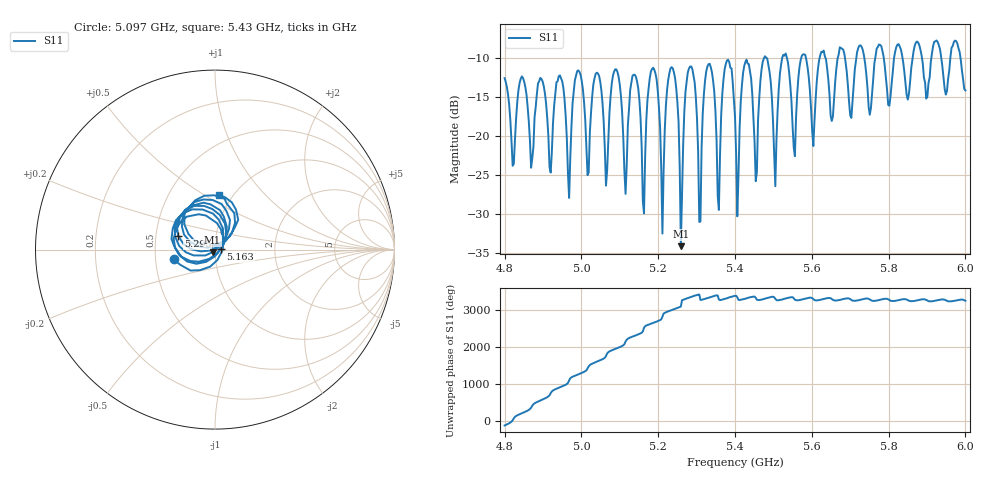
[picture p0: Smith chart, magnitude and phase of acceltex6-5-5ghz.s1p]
! NanoVNA-App
! Date: 2026-05-15 12:14:37
! Start: 4.8GHz Stop: 6GHz Points: 401
! S-Parameter data: F S11
# Hz S RI R 50
!  Frequency  S11_Real  S11_Imag
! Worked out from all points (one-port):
!   401 points, 4.8 GHz to 6 GHz, reference 50 ohm
!   lowest |S11| = -34.1 dB at 5.259 GHz (marker M1), VSWR 1.04, Z = 48.6 - j1.4 ohm
!   |S11| at or under -10 dB: start of sweep to 5.476 GHz; 5.481 GHz to 5.523 GHz (42.1 MHz wide, 0.765 % of centre); 5.535 GHz to 5.573 GHz (37.8 MHz wide, 0.681 % of centre) (the widest 3 of 12)
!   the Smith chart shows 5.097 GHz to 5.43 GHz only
!   S11 on the Smith chart (normalised r, x): 5.097 GHz: 0.62, -0.07; 5.163 GHz: 1.07, +0.01; 5.295 GHz: 0.65, +0.10; 5.43 GHz: 0.86, +0.58
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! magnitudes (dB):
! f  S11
! 4.8 GHz  -12.6
! 4.92 GHz  -24.7
! 4.95 GHz  -13.0
! 4.968 GHz  -27.9
! 4.989 GHz  -11.7
! 5.064 GHz  -26.3
! 5.097 GHz  -12.5
! 5.1 GHz  -13.5
! 5.163 GHz  -29.9
! 5.184 GHz  -11.5
! 5.211 GHz  -32.5
! 5.232 GHz  -11.4
! 5.25 GHz  -15.7
! 5.259 GHz  -34.1
! 5.295 GHz  -13.2
! 5.307 GHz  -31.0
! 5.331 GHz  -10.9
! 5.355 GHz  -27.7
! 5.379 GHz  -10.4
! 5.4 GHz  -17.5
! 5.43 GHz  -10.3
! 5.454 GHz  -25.8
! 5.478 GHz  -9.8
! 5.55 GHz  -18.8
! 5.577 GHz  -9.6
! 5.7 GHz  -17.4
! 5.85 GHz  -15.4
! 6 GHz  -14.2
